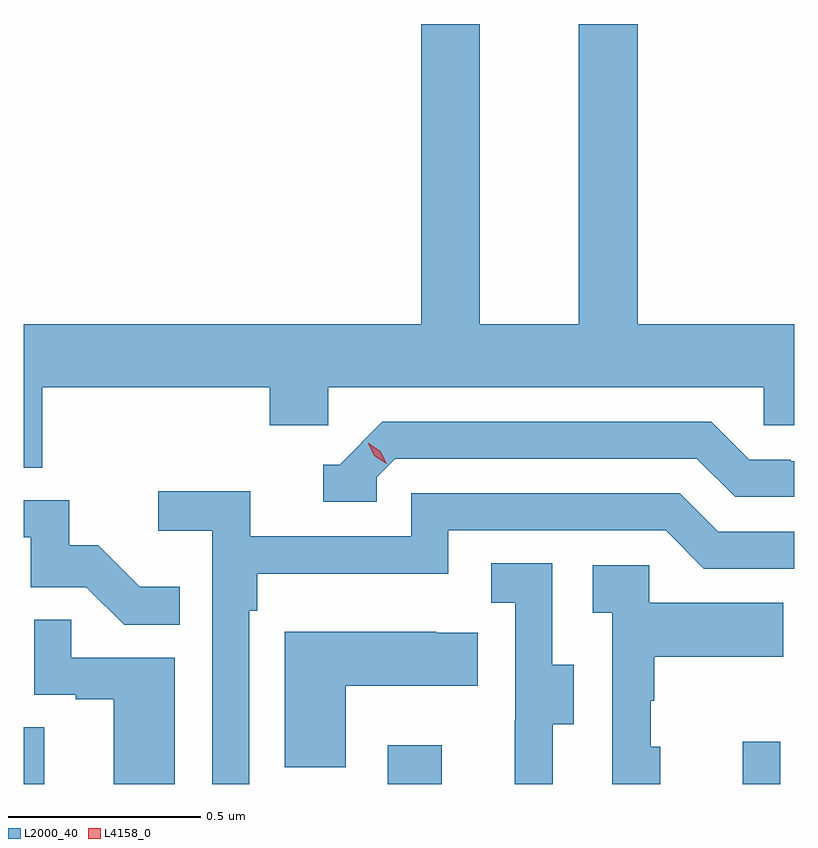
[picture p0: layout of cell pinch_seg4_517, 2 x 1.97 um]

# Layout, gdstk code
import gdstk
lib = gdstk.Library(unit=1e-6, precision=1e-09)
def R(c, l, rs):  # rectangles x0, y0, x1, y1
    for r in rs: c.add(gdstk.rectangle(r[:2], r[2:], *l))
def P(c, l, *ps):  # polygons
    for p in ps: c.add(gdstk.Polygon(p, *l))
L2000_40 = (2000, 40)
L4158_0 = (4158, 0)

pinch_seg4_517 = lib.new_cell('pinch_seg4_517')
R(pinch_seg4_517, L2000_40, [(1001.828,763.823,1001.881,763.97), (1002.773,763.823,1002.913,763.924), (1003.694,763.823,1003.791,763.933)])
P(pinch_seg4_517, L2000_40, [(1001.828,764.644),(1001.876,764.644),(1001.876,764.852),(1002.467,764.852),(1002.467,764.754),(1002.618,764.754),(1002.618,764.852),(1003.749,764.852),(1003.749,764.754),(1003.828,764.754),(1003.828,765.016),(1003.421,765.016),(1003.421,765.795),(1003.268,765.795),(1003.268,765.016),(1003.012,765.016),(1003.012,765.795),(1002.86,765.795),(1002.86,765.016),(1001.828,765.016)],
  [(1002.744,764.619),(1002.792,764.667),(1003.575,764.667),(1003.674,764.568),(1003.828,764.568),(1003.828,764.661),(1003.818,764.661),(1003.818,764.664),(1003.711,764.664),(1003.612,764.763),(1002.759,764.763),(1002.648,764.652),(1002.605,764.652),(1002.605,764.556),(1002.744,764.556)],
  [(1002.414,764.273),(1002.434,764.273),(1002.434,764.369),(1002.93,764.369),(1002.93,764.481),(1003.494,764.481),(1003.593,764.382),(1003.828,764.382),(1003.828,764.478),(1003.63,764.478),(1003.531,764.577),(1002.834,764.577),(1002.834,764.466),(1002.416,764.466),(1002.416,764.582),(1002.177,764.582),(1002.177,764.48),(1002.318,764.48),(1002.318,763.823),(1002.414,763.823)],
  [(1002.233,764.335),(1002.129,764.335),(1002.022,764.442),(1001.946,764.442),(1001.946,764.559),(1001.828,764.559),(1001.828,764.463),(1001.847,764.463),(1001.847,764.334),(1001.991,764.334),(1002.089,764.236),(1002.233,764.236)],
  [(1003.201,763.978),(1003.255,763.978),(1003.255,764.133),(1003.2,764.133),(1003.2,764.396),(1003.041,764.396),(1003.041,764.293),(1003.104,764.293),(1003.104,763.989),(1003.103,763.989),(1003.103,763.823),(1003.201,763.823)],
  [(1003.48,763.92),(1003.455,763.92),(1003.455,764.039),(1003.465,764.039),(1003.465,764.153),(1003.799,764.153),(1003.799,764.293),(1003.452,764.293),(1003.452,764.391),(1003.305,764.391),(1003.305,764.267),(1003.356,764.267),(1003.356,763.823),(1003.48,763.823)],
  [(1002.22,764.151),(1001.951,764.151),(1001.951,764.249),(1001.856,764.249),(1001.856,764.055),(1001.963,764.055),(1001.963,764.043),(1002.062,764.043),(1002.062,763.823),(1002.22,763.823)],
  [(1002.664,764.078),(1003.007,764.078),(1003.007,764.215),(1002.899,764.215),(1002.899,764.218),(1002.506,764.218),(1002.506,763.866),(1002.664,763.866)])
P(pinch_seg4_517, L4158_0, [(1002.77,764.654),(1002.739,764.674),(1002.722,764.706),(1002.722,764.707),(1002.723,764.707),(1002.753,764.687),(1002.77,764.654),(1002.77,764.654)])

lib.write_gds('pinch_seg4_517.gds')
